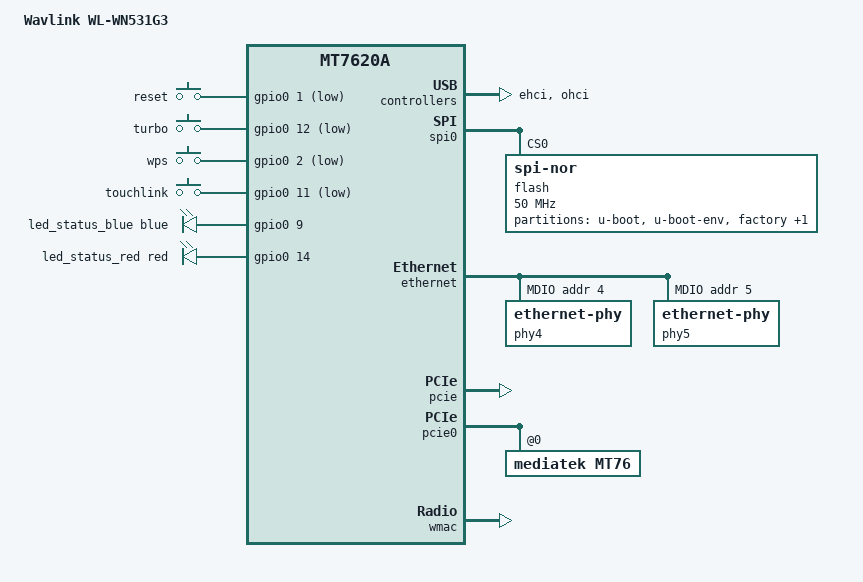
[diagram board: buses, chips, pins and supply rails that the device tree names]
// SPDX-License-Identifier: GPL-2.0-or-later

#include "mt7620a.dtsi"
#include <dt-bindings/input/input.h>
#include <dt-bindings/gpio/gpio.h>
#include <dt-bindings/leds/common.h>

/ {
	compatible = "wavlink,wl-wn531g3", "ralink,mt7620a-soc";
	model = "Wavlink WL-WN531G3";

	aliases {
		led-boot = &led_status_blue;
		led-failsafe = &led_status_red;
		led-running = &led_status_blue;
		led-upgrade = &led_status_red;
	};

	keys {
		compatible = "gpio-keys";

		reset {
			label = "reset";
			gpios = <&gpio0 1 GPIO_ACTIVE_LOW>;
			linux,code = <KEY_RESTART>;
		};

		turbo {
			label = "turbo";
			gpios = <&gpio0 12 GPIO_ACTIVE_LOW>;
			linux,code = <BTN_1>;
		};

		wps {
			label = "wps";
			gpios = <&gpio0 2 GPIO_ACTIVE_LOW>;
			linux,code = <KEY_WPS_BUTTON>;
		};

		touchlink {
			label = "touchlink";
			gpios = <&gpio0 11 GPIO_ACTIVE_LOW>;
			linux,code = <BTN_0>;
		};
	};

	leds {
		compatible = "gpio-leds";

		led_status_blue: led_status_blue {
			function = LED_FUNCTION_STATUS;
			color = <LED_COLOR_ID_BLUE>;
			gpios = <&gpio0 9 GPIO_ACTIVE_HIGH>;
		};

		led_status_red: led_status_red {
			function = LED_FUNCTION_STATUS;
			color = <LED_COLOR_ID_RED>;
			gpios = <&gpio0 14 GPIO_ACTIVE_HIGH>;
		};
	};
};

&ehci {
	status = "okay";
};

&ohci {
	status = "okay";
};

&spi0 {
	status = "okay";

	flash@0 {
		compatible = "jedec,spi-nor";
		reg = <0>;
		spi-max-frequency = <50000000>;

		partitions {
			compatible = "fixed-partitions";
			#address-cells = <1>;
			#size-cells = <1>;

			partition@0 {
				label = "u-boot";
				reg = <0x0 0x30000>;
				read-only;
			};

			partition@30000 {
				label = "u-boot-env";
				reg = <0x30000 0x10000>;
				read-only;
			};

			factory: partition@40000 {
				label = "factory";
				reg = <0x40000 0x10000>;
				read-only;

				nvmem-layout {
					compatible = "fixed-layout";
					#address-cells = <1>;
					#size-cells = <1>;

					macaddr_factory_28: macaddr@28 {
						reg = <0x28 0x6>;
					};

					macaddr_factory_2e: macaddr@2e {
						reg = <0x2e 0x6>;
					};

					eeprom_radio_0: eeprom@0 {
						reg = <0x0 0x200>;
					};

					eeprom_radio_8000: eeprom@8000 {
						reg = <0x8000 0x200>;
					};
				};
			};

			partition@50000 {
				compatible = "denx,uimage";
				label = "firmware";
				reg = <0x50000 0x7b0000>;
			};
		};
	};
};

&ethernet {
	pinctrl-names = "default";
	pinctrl-0 = <&rgmii1_pins>, <&rgmii2_pins>, <&mdio_pins>;

	nvmem-cells = <&macaddr_factory_28>;
	nvmem-cell-names = "mac-address";

	mediatek,portmap = "llllw";

	port@4 {
		status = "okay";
		phy-handle = <&phy4>;
		phy-mode = "rgmii";

		nvmem-cells = <&macaddr_factory_2e>;
		nvmem-cell-names = "mac-address";
	};

	port@5 {
		status = "okay";
		phy-handle = <&phy5>;
		phy-mode = "rgmii";
	};

	mdio-bus {
		status = "okay";

		phy4: ethernet-phy@4 {
			reg = <4>;
			phy-mode = "rgmii";
		};

		phy5: ethernet-phy@5 {
			reg = <5>;
			phy-mode = "rgmii";
		};
	};
};

&pcie {
	status = "okay";
};

&pcie0 {
	mt76@0,0 {
		compatible = "mediatek,mt76";
		reg = <0x0000 0 0 0 0>;
		nvmem-cells = <&eeprom_radio_8000>;
		nvmem-cell-names = "eeprom";
		ieee80211-freq-limit = <5000000 6000000>;
	};
};

&gsw {
	mediatek,port4-gmac;
};

&wmac {
	nvmem-cells = <&eeprom_radio_0>;
	nvmem-cell-names = "eeprom";
};

&state_default {
	gpio {
		groups = "i2c", "uartf";
		function = "gpio";
	};
};
